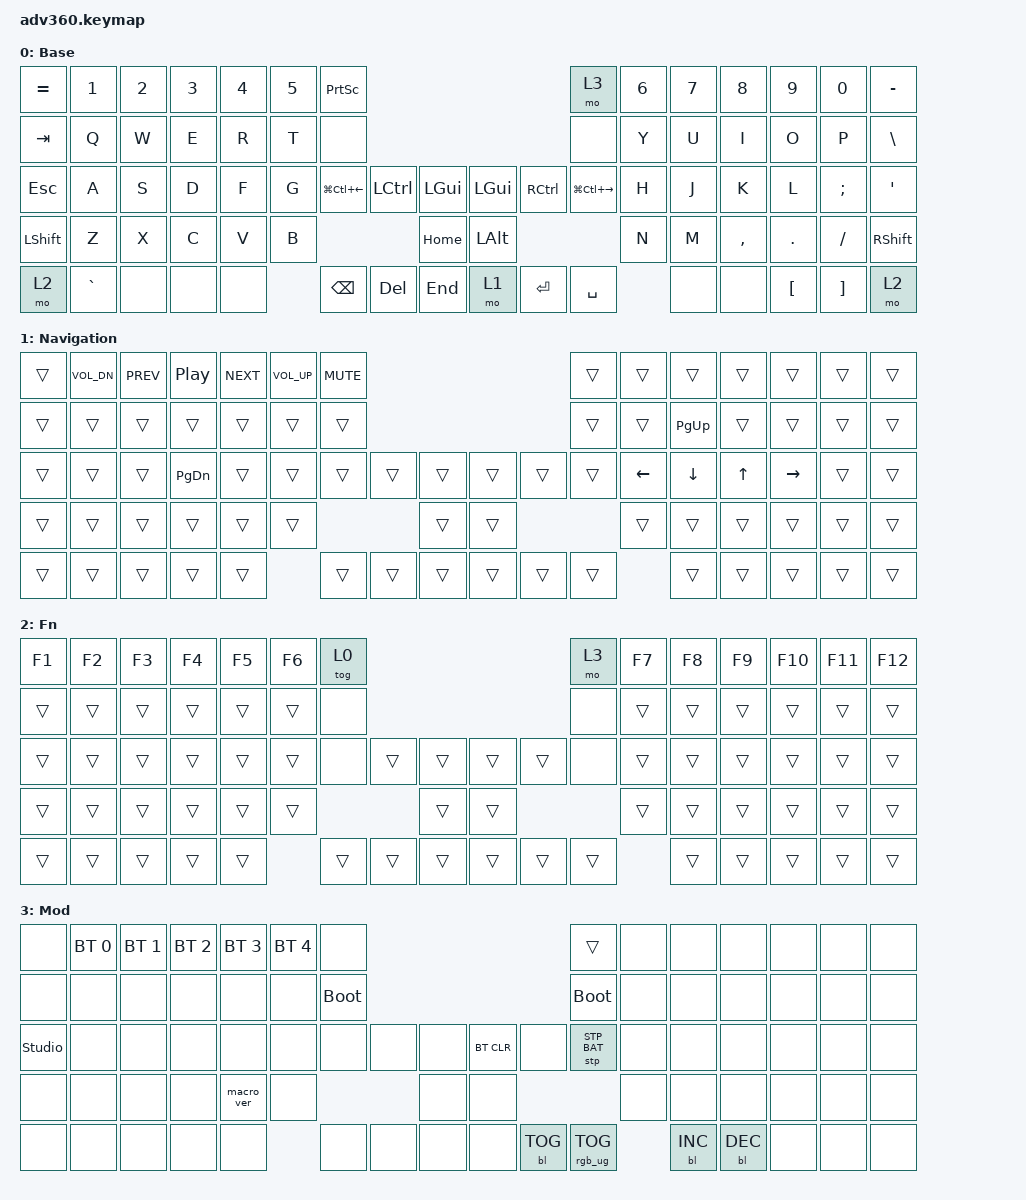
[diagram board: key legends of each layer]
#include <dt-bindings/zmk/stp.h>
#include <behaviors.dtsi>
#include <dt-bindings/zmk/backlight.h>
#include <dt-bindings/zmk/bt.h>
#include <dt-bindings/zmk/keys.h>
#include <dt-bindings/zmk/rgb.h>

/ {
    behaviors {
        #include "macros.dtsi"
      #include "version.dtsi"

        hm: homerow_mods {
            compatible = "zmk,behavior-hold-tap";
            label = "HOMEROW_MODS";
            #binding-cells = <2>;
            tapping-term-ms = <200>;
            quick_tap_ms = <175>;
            flavor = "tap-preferred";
            bindings = <&kp>, <&kp>;
        };

        mod_bang_1: mod_bang_1 {
            compatible = "zmk,behavior-mod-morph";
            label = "MOD_BANG_1";
            bindings = <&kp EXCLAMATION>, <&kp N1>;

            #binding-cells = <0>;
            mods = <(MOD_LSFT|MOD_RSFT)>;
        };

        mod_LBkt_2: mod_LBkt_2 {
            compatible = "zmk,behavior-mod-morph";
            label = "MOD_LBKT_2";
            bindings = <&kp LBKT>, <&kp N2>;

            #binding-cells = <0>;
            mods = <(MOD_LSFT|MOD_RSFT)>;
        };

        mod_LP_3: mod_LP_3 {
            compatible = "zmk,behavior-mod-morph";
            label = "MOD_LP_3";
            bindings = <&kp LEFT_PARENTHESIS>, <&kp N3>;

            #binding-cells = <0>;
            mods = <(MOD_LSFT|MOD_RSFT)>;
        };

        mod_LBRC_4: mod_LBRC_4 {
            compatible = "zmk,behavior-mod-morph";
            label = "MOD_LBRC_4";
            bindings = <&kp LEFT_BRACE>, <&kp NUMBER_4>;

            #binding-cells = <0>;
            mods = <(MOD_LSFT|MOD_RSFT)>;
        };

        mod_Hash_5: mod_Hash_5 {
            compatible = "zmk,behavior-mod-morph";
            label = "MOD_HASH_5";
            bindings = <&kp POUND>, <&kp N5>;

            #binding-cells = <0>;
            mods = <(MOD_LSFT|MOD_RSFT)>;
        };

        mod_Amp_6: mod_Amp_6 {
            compatible = "zmk,behavior-mod-morph";
            label = "MOD_AMP_6";
            bindings = <&kp AMPERSAND>, <&kp N6>;

            #binding-cells = <0>;
            mods = <(MOD_LSFT|MOD_RSFT)>;
        };

        mod_RBRC_7: mod_RBRC_7 {
            compatible = "zmk,behavior-mod-morph";
            label = "MOD_RBRC_7";
            bindings = <&kp RIGHT_BRACE>, <&kp N7>;

            #binding-cells = <0>;
            mods = <(MOD_LSFT|MOD_RSFT)>;
        };

        mod_RP_8: mod_RP_8 {
            compatible = "zmk,behavior-mod-morph";
            label = "MOD_RP_8";
            bindings = <&kp RIGHT_PARENTHESIS>, <&kp N8>;

            #binding-cells = <0>;
            mods = <(MOD_LSFT|MOD_RSFT)>;
        };

        mod_RBKT_9: mod_RBKT_9 {
            compatible = "zmk,behavior-mod-morph";
            label = "MOD_RBKT_9";
            bindings = <&kp RIGHT_BRACKET>, <&kp N9>;

            #binding-cells = <0>;
            mods = <(MOD_LSFT|MOD_RSFT)>;
        };

        mod_Dol_0: mod_Dol_0 {
            compatible = "zmk,behavior-mod-morph";
            label = "MOD_DOL_0";
            bindings = <&kp DOLLAR>, <&kp N0>;

            #binding-cells = <0>;
            mods = <(MOD_LSFT|MOD_RSFT)>;
        };

        mod_AT_PCT: mod_AT_PCT {
            compatible = "zmk,behavior-mod-morph";
            label = "MOD_AT_PCT";
            bindings = <&kp AT_SIGN>, <&kp PERCENT>;

            #binding-cells = <0>;
            mods = <(MOD_LSFT|MOD_RSFT)>;
        };

        mod_Astx_Car: mod_Astx_Car {
            compatible = "zmk,behavior-mod-morph";
            label = "MOD_ASTX_CAR";
            bindings = <&kp ASTERISK>, <&kp CARET>;

            #binding-cells = <0>;
            mods = <(MOD_LSFT|MOD_RSFT)>;
        };

        mod_BS_Del: mod_BS_Del {
            compatible = "zmk,behavior-mod-morph";
            label = "MOD_BS_DEL";
            bindings = <&kp BACKSPACE>, <&kp DEL>;

            #binding-cells = <0>;
            mods = <(MOD_LSFT|MOD_RSFT)>;
        };
    };

    keymap {
        compatible = "zmk,keymap";

        default_layer {
            display-name = "Base";
            bindings = <
&kp EQUAL  &kp N1     &kp N2  &kp N3  &kp N4  &kp N5  &kp PRINTSCREEN                                                 &mo 3              &kp N6  &kp N7  &kp N8     &kp N9            &kp N0             &kp MINUS
&kp TAB    &kp Q      &kp W   &kp E   &kp R   &kp T   &none                                                           &none              &kp Y   &kp U   &kp I      &kp O             &kp P              &kp BSLH
&kp ESC    &kp A      &kp S   &kp D   &kp F   &kp G   &kp LG(LC(LEFT))  &kp LCTRL  &kp LGUI      &kp LGUI  &kp RCTRL  &kp LG(LC(RIGHT))  &kp H   &kp J   &kp K      &kp L             &kp SEMI           &kp SQT
&kp LSHFT  &kp Z      &kp X   &kp C   &kp V   &kp B                                &kp HOME      &kp LALT                                &kp N   &kp M   &kp COMMA  &kp DOT           &kp FSLH           &kp RSHFT
&mo 2      &kp GRAVE  &none   &none   &none           &kp BACKSPACE     &kp DEL    &kp END       &mo 1     &kp ENTER  &kp SPACE                  &none   &none      &kp LEFT_BRACKET  &kp RIGHT_BRACKET  &mo 2
            >;
        };

        Navigation {
            bindings = <
&trans  &kp C_VOL_DN  &kp C_PREV  &kp C_PP       &kp C_NEXT  &kp C_VOL_UP  &kp C_MUTE                                      &trans  &trans          &trans          &trans        &trans           &trans  &trans
&trans  &trans        &trans      &trans         &trans      &trans        &trans                                          &trans  &trans          &kp PAGE_UP     &trans        &trans           &trans  &trans
&trans  &trans        &trans      &kp PAGE_DOWN  &trans      &trans        &trans      &trans  &trans      &trans  &trans  &trans  &kp LEFT_ARROW  &kp DOWN_ARROW  &kp UP_ARROW  &kp RIGHT_ARROW  &trans  &trans
&trans  &trans        &trans      &trans         &trans      &trans                            &trans      &trans                  &trans          &trans          &trans        &trans           &trans  &trans
&trans  &trans        &trans      &trans         &trans                    &trans      &trans  &trans      &trans  &trans  &trans                  &trans          &trans        &trans           &trans  &trans
            >;
        };

        fn {
            display-name = "Fn";
            bindings = <
&kp F1  &kp F2  &kp F3  &kp F4  &kp F5  &kp F6  &tog 0                                      &mo 3   &kp F7  &kp F8  &kp F9  &kp F10  &kp F11  &kp F12
&trans  &trans  &trans  &trans  &trans  &trans  &none                                       &none   &trans  &trans  &trans  &trans   &trans   &trans
&trans  &trans  &trans  &trans  &trans  &trans  &none   &trans  &trans      &trans  &trans  &none   &trans  &trans  &trans  &trans   &trans   &trans
&trans  &trans  &trans  &trans  &trans  &trans                  &trans      &trans                  &trans  &trans  &trans  &trans   &trans   &trans
&trans  &trans  &trans  &trans  &trans          &trans  &trans  &trans      &trans  &trans  &trans          &trans  &trans  &trans   &trans   &trans
            >;
        };

        mod {
            display-name = "Mod";
            bindings = <
&none           &bt BT_SEL 0  &bt BT_SEL 1  &bt BT_SEL 2  &bt BT_SEL 3  &bt BT_SEL 4  &none                                                  &trans           &none  &none       &none       &none  &none  &none
&none           &none         &none         &none         &none         &none         &bootloader                                            &bootloader      &none  &none       &none       &none  &none  &none
&studio_unlock  &none         &none         &none         &none         &none         &none        &none  &none      &bt BT_CLR  &none       &stp STP_BAT     &none  &none       &none       &none  &none  &none
&none           &none         &none         &none         &macro_ver    &none                             &none      &none                                    &none  &none       &none       &none  &none  &none
&none           &none         &none         &none         &none                       &none        &none  &none      &none       &bl BL_TOG  &rgb_ug RGB_TOG         &bl BL_INC  &bl BL_DEC  &none  &none  &none
            >;
        };

        extra1 {
            display-name = "Red";
            status = "reserved";
        };

        extra2 {
            display-name = "Purple";
            status = "reserved";
        };

        extra3 {
            display-name = "Cyan";
            status = "reserved";
        };

        extra4 {
            display-name = "Yellow";
            status = "reserved";
        };
    };
};
